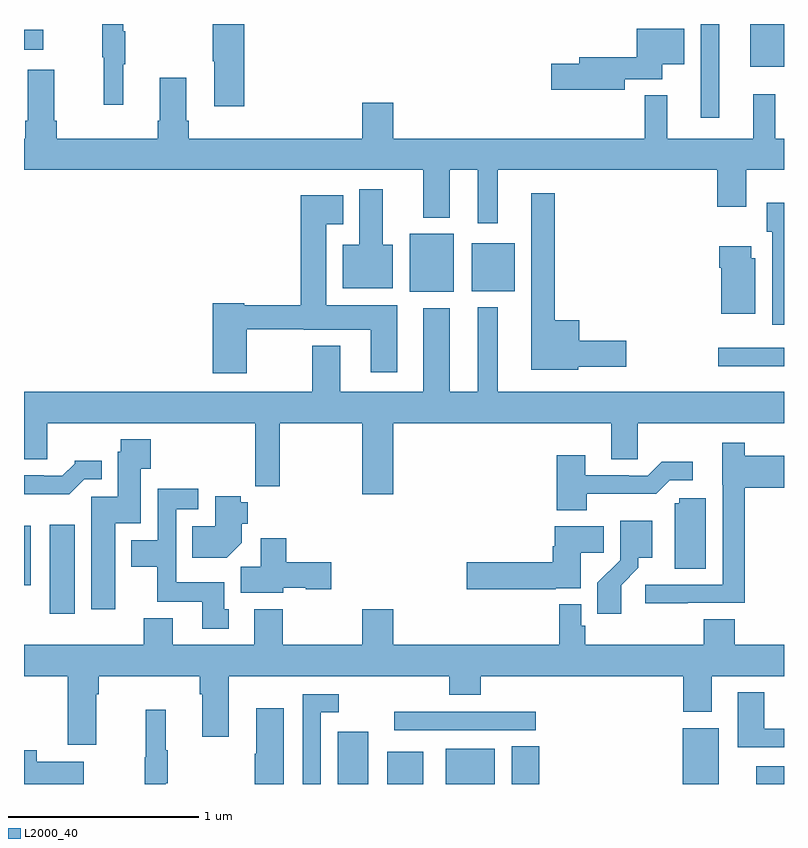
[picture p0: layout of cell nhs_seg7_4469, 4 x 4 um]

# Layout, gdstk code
import gdstk
lib = gdstk.Library(unit=1e-6, precision=1e-09)
def R(c, l, rs):  # rectangles x0, y0, x1, y1
    for r in rs: c.add(gdstk.rectangle(r[:2], r[2:], *l))
def P(c, l, *ps):  # polygons
    for p in ps: c.add(gdstk.Polygon(p, *l))
L2000_40 = (2000, 40)

nhs_seg7_4469 = lib.new_cell('nhs_seg7_4469')
R(nhs_seg7_4469, L2000_40, [(392.651,1048,392.812,1048.276), (392.912,1048,393.1,1048.171), (393.221,1048,393.478,1048.186), (393.566,1048,393.713,1048.199), (394.466,1048,394.657,1048.294), (394.853,1048,395,1048.093), (392.949,1048.284,393.694,1048.38), (391.136,1048.896,391.267,1049.365), (391,1049.045,391.036,1049.359), (394.653,1050.2,395,1050.297), (393.029,1050.59,393.262,1050.895), (393.356,1050.593,393.583,1050.847), (394.563,1051.506,394.66,1052), (394.823,1051.775,395,1052), (391,1051.865,391.102,1051.969)])
P(nhs_seg7_4469, L2000_40, [(392.159,1052),(391.993,1052),(391.993,1051.804),(392,1051.804),(392,1051.566),(392.159,1051.566)],
  [(391.523,1051.787),(391.534,1051.787),(391.534,1051.961),(391.523,1051.961),(391.523,1052),(391.413,1052),(391.413,1051.824),(391.42,1051.824),(391.42,1051.575),(391.523,1051.575)],
  [(394.162,1051.71),(394.36,1051.71),(394.36,1051.787),(394.474,1051.787),(394.474,1051.975),(394.226,1051.975),(394.226,1051.826),(393.923,1051.826),(393.923,1051.79),(393.774,1051.79),(393.774,1051.655),(394.162,1051.655)],
  [(393.493,1051.232),(394.649,1051.232),(394.649,1051.038),(394.801,1051.038),(394.801,1051.232),(395,1051.232),(395,1051.396),(394.955,1051.396),(394.955,1051.63),(394.838,1051.63),(394.838,1051.396),(394.385,1051.396),(394.385,1051.625),(394.267,1051.625),(394.267,1051.396),(392.944,1051.396),(392.944,1051.585),(392.78,1051.585),(392.78,1051.396),(391.868,1051.396),(391.868,1051.492),(391.855,1051.492),(391.855,1051.717),(391.715,1051.717),(391.715,1051.492),(391.703,1051.492),(391.703,1051.396),(391.172,1051.396),(391.172,1051.492),(391.159,1051.492),(391.159,1051.759),(391.019,1051.759),(391.019,1051.492),(391.007,1051.492),(391.007,1051.396),(391,1051.396),(391,1051.232),(393.101,1051.232),(393.101,1050.98),(393.241,1050.98),(393.241,1051.232),(393.389,1051.232),(393.389,1050.951),(393.493,1050.951)],
  [(392.941,1050.838),(392.887,1050.838),(392.887,1051.129),(392.765,1051.129),(392.765,1050.838),(392.678,1050.838),(392.678,1050.608),(392.941,1050.608)],
  [(393.918,1050.197),(394.171,1050.197),(394.171,1050.332),(393.922,1050.332),(393.922,1050.442),(393.793,1050.442),(393.793,1051.108),(393.671,1051.108),(393.671,1050.179),(393.918,1050.179)],
  [(392.172,1050.393),(392.472,1050.393),(392.472,1050.392),(392.825,1050.392),(392.825,1050.168),(392.965,1050.168),(392.965,1050.52),(392.59,1050.52),(392.59,1050.947),(392.68,1050.947),(392.68,1051.099),(392.456,1051.099),(392.456,1050.521),(392.16,1050.521),(392.16,1050.529),(391.994,1050.529),(391.994,1050.162),(392.172,1050.162)],
  [(395,1051.06),(394.91,1051.06),(394.91,1050.906),(394.937,1050.906),(394.937,1050.417),(395,1050.417)],
  [(394.849,1050.768),(394.828,1050.768),(394.828,1050.829),(394.658,1050.829),(394.658,1050.716),(394.67,1050.716),(394.67,1050.476),(394.849,1050.476)],
  [(394.091,1049.71),(394.23,1049.71),(394.23,1049.9),(395,1049.9),(395,1050.064),(393.493,1050.064),(393.493,1050.508),(393.389,1050.508),(393.389,1050.064),(393.241,1050.064),(393.241,1050.505),(393.101,1050.505),(393.101,1050.064),(392.665,1050.064),(392.665,1050.307),(392.518,1050.307),(392.518,1050.064),(391,1050.064),(391,1049.71),(391.123,1049.71),(391.123,1049.9),(392.218,1049.9),(392.218,1049.568),(392.347,1049.568),(392.347,1049.9),(392.78,1049.9),(392.78,1049.526),(392.944,1049.526),(392.944,1049.9),(394.091,1049.9)],
  [(391.48,1049.372),(391.615,1049.372),(391.615,1049.659),(391.667,1049.659),(391.667,1049.815),(391.51,1049.815),(391.51,1049.748),(391.493,1049.748),(391.493,1049.511),(391.355,1049.511),(391.355,1048.92),(391.48,1048.92)],
  [(394.493,1048.953),(394.793,1048.953),(394.793,1049.558),(395,1049.558),(395,1049.728),(394.793,1049.728),(394.793,1049.797),(394.676,1049.797),(394.676,1049.574),(394.677,1049.574),(394.677,1049.049),(394.269,1049.049),(394.269,1048.951),(394.493,1048.951)],
  [(393.963,1049.528),(394.327,1049.528),(394.398,1049.598),(394.519,1049.598),(394.519,1049.695),(394.357,1049.695),(394.284,1049.622),(394.184,1049.622),(394.184,1049.625),(393.955,1049.625),(393.955,1049.731),(393.803,1049.731),(393.803,1049.441),(393.963,1049.441)],
  [(391.317,1049.604),(391.408,1049.604),(391.408,1049.701),(391.266,1049.701),(391.266,1049.686),(391.202,1049.622),(391.103,1049.622),(391.103,1049.625),(391,1049.625),(391,1049.526),(391.239,1049.526)],
  [(392.077,1048.92),(392.053,1048.92),(392.053,1049.062),(391.8,1049.062),(391.8,1049.445),(391.918,1049.445),(391.918,1049.554),(391.704,1049.554),(391.704,1049.284),(391.565,1049.284),(391.565,1049.144),(391.702,1049.144),(391.702,1048.958),(391.937,1048.958),(391.937,1048.818),(392.077,1048.818)],
  [(392.146,1049.27),(392.146,1049.37),(392.177,1049.37),(392.177,1049.484),(392.142,1049.484),(392.142,1049.514),(392.006,1049.514),(392.006,1049.356),(391.885,1049.356),(391.885,1049.192),(392.068,1049.192)],
  [(394.588,1049.505),(394.449,1049.505),(394.449,1049.478),(394.424,1049.478),(394.424,1049.134),(394.588,1049.134)],
  [(394.144,1049.047),(394.234,1049.137),(394.234,1049.192),(394.306,1049.192),(394.306,1049.386),(394.137,1049.386),(394.137,1049.177),(394.018,1049.058),(394.018,1048.896),(394.144,1048.896)],
  [(393.798,1049.03),(393.931,1049.03),(393.931,1049.218),(394.052,1049.218),(394.052,1049.356),(393.794,1049.356),(393.794,1049.252),(393.782,1049.252),(393.782,1049.168),(393.33,1049.168),(393.33,1049.026),(393.798,1049.026)],
  [(392.364,1049.033),(392.484,1049.033),(392.484,1049.026),(392.617,1049.026),(392.617,1049.168),(392.381,1049.168),(392.381,1049.293),(392.246,1049.293),(392.246,1049.144),(392.141,1049.144),(392.141,1049.006),(392.364,1049.006)],
  [(392.944,1048.921),(392.78,1048.921),(392.78,1048.732),(392.361,1048.732),(392.361,1048.921),(392.213,1048.921),(392.213,1048.732),(391.783,1048.732),(391.783,1048.873),(391.631,1048.873),(391.631,1048.732),(391,1048.732),(391,1048.568),(391.229,1048.568),(391.229,1048.206),(391.381,1048.206),(391.381,1048.472),(391.394,1048.472),(391.394,1048.568),(391.925,1048.568),(391.925,1048.472),(391.937,1048.472),(391.937,1048.248),(392.077,1048.248),(392.077,1048.568),(393.239,1048.568),(393.239,1048.469),(393.404,1048.469),(393.404,1048.568),(394.469,1048.568),(394.469,1048.379),(394.621,1048.379),(394.621,1048.568),(395,1048.568),(395,1048.732),(394.742,1048.732),(394.742,1048.868),(394.577,1048.868),(394.577,1048.732),(393.953,1048.732),(393.953,1048.833),(393.933,1048.833),(393.933,1048.945),(393.817,1048.945),(393.817,1048.732),(392.944,1048.732)],
  [(395,1048.29),(394.897,1048.29),(394.897,1048.483),(394.757,1048.483),(394.757,1048.194),(395,1048.194)],
  [(392.562,1048.377),(392.656,1048.377),(392.656,1048.473),(392.466,1048.473),(392.466,1048),(392.562,1048)],
  [(392.368,1048.399),(392.222,1048.399),(392.222,1048.16),(392.215,1048.16),(392.215,1048),(392.368,1048)],
  [(391.745,1048.003),(391.756,1048.003),(391.756,1048.177),(391.745,1048.177),(391.745,1048.39),(391.642,1048.39),(391.642,1048.14),(391.635,1048.14),(391.635,1048),(391.745,1048)],
  [(391.315,1048.117),(391.067,1048.117),(391.067,1048.177),(391,1048.177),(391,1048),(391.315,1048)])

lib.write_gds('nhs_seg7_4469.gds')
